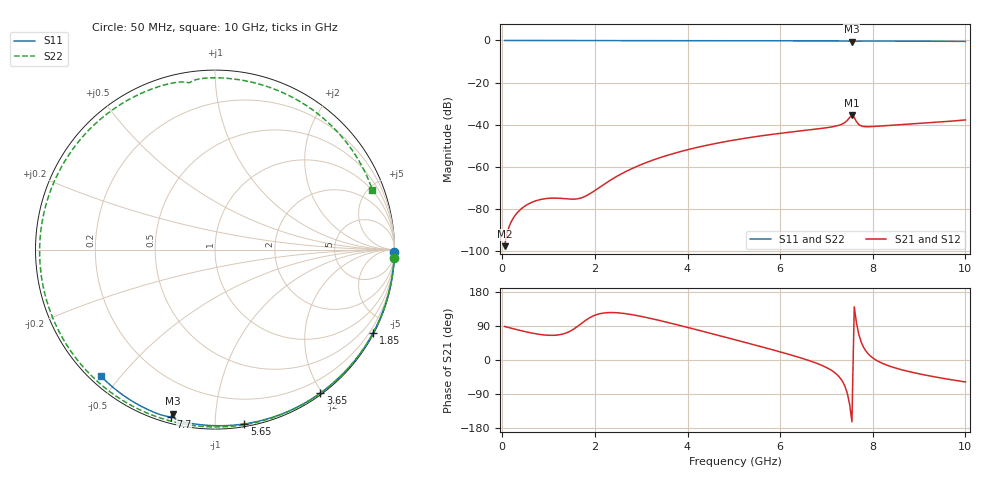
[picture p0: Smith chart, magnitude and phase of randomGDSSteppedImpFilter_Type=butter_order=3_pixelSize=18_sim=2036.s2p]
! freq	dB(S11)	phase(S11)	dB(S12)	phase(S12)
!  dB(S21)	phase(S21)	dB(S22)	phase(S22)
!S-par simulation data
#  GHz  S  DB  R 50
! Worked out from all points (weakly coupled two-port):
!   200 points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, 50 MHz to 10 GHz, reference 50 ohm
!   highest |S21| = -35.57 dB at 7.55 GHz (marker M1); lowest = -97.8 dB at 50 MHz (marker M2)
!   lowest |S11| = -0.5 dB at 7.55 GHz (marker M3), VSWR 34.45, Z = 2.32 - j38.7 ohm
!   |S11| at or under -10 dB: nowhere
!   |S22| runs from -0.6 to 0.0 dB; largest |S21 - S12| = 0
!   S11 on the Smith chart (normalised r, x): 50 MHz: open; 1.85 GHz: 0.03, -4.03; 3.65 GHz: 0.02, -1.97; 5.65 GHz: 0.02, -1.18; 7.7 GHz: 0.03, -0.77; 10 GHz: 0.03, -0.45
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0.05  -0.00 -0.8  -97.78 88.5  -97.78 88.5  -0.00 -2.5
0.4  -0.01 -6.1  -80.20 77.5  -80.20 77.5  -0.03 -19.9
0.65  -0.01 -9.9  -76.82 70.8  -76.82 70.8  -0.04 -32.1
0.95  -0.02 -14.4  -75.13 65.6  -75.13 65.6  -0.06 -46.3
1.35  -0.03 -20.4  -75.21 70.2  -75.21 70.2  -0.08 -64.4
1.75  -0.03 -26.4  -74.47 100.2  -74.47 100.2  -0.09 -81.5
1.85  -0.04 -27.9  -73.40 108.7  -73.40 108.7  -0.10 -85.5
2.55  -0.05 -38.1  -63.65 123.9  -63.65 123.9  -0.12 -112.2
3.4  -0.07 -50.2  -55.75 104.2  -55.75 104.2  -0.15 -140.7
3.65  -0.07 -53.7  -54.03 96.8  -54.03 96.8  -0.16 -148.5
4.35  -0.09 -63.3  -50.14 75.0  -50.14 75.0  -0.18 -169.4
5.05  -0.11 -72.7  -47.18 52.7  -47.18 52.7  -0.22 170.7
5.65  -0.13 -80.5  -45.16 33.2  -45.16 33.2  -0.25 153.8
6.7  -0.18 -93.7  -42.34 -4.6  -42.34 -4.6  -0.31 123.9
7.3  -0.23 -101.3  -40.10 -48.2  -40.10 -48.2  -0.36 106.1
7.4  -0.26 -102.8  -38.96 -69.7  -38.96 -69.7  -0.39 103.0
7.55  -0.50 -104.4  -35.57 -163.1  -35.57 -163.1  -0.53 98.9
7.7  -0.33 -104.8  -39.99 67.0  -39.99 67.0  -0.39 94.8
7.85  -0.28 -106.9  -40.99 24.0  -40.99 24.0  -0.38 90.0
8.35  -0.30 -113.0  -40.41 -15.6  -40.41 -15.6  -0.41 74.2
9.1  -0.36 -121.7  -39.31 -39.0  -39.31 -39.0  -0.46 50.1
10  -0.45 -132.0  -37.78 -57.9  -37.78 -57.9  -0.56 20.9
